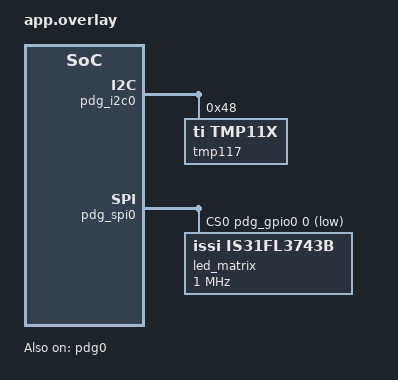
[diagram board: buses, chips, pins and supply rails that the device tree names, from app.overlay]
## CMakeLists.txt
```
# Copyright (c) 2026 Open Device Partnership and Contributors
# SPDX-License-Identifier: MIT

cmake_minimum_required(VERSION 3.20.0)

set(BOARD native_sim/native/64 CACHE STRING "Default board for Pico de Gallo samples")
set(SHIELD pico_de_gallo CACHE STRING "Default shield for Pico de Gallo samples")
get_filename_component(PDG_MODULE_ROOT "${CMAKE_CURRENT_LIST_DIR}/../../.." ABSOLUTE)
list(APPEND EXTRA_ZEPHYR_MODULES "${PDG_MODULE_ROOT}")

find_package(Zephyr REQUIRED HINTS $ENV{ZEPHYR_BASE})
project(pdg_combined_i2c_spi_bridge)

target_sources(app PRIVATE src/main.c)
```

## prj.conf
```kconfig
CONFIG_I2C=y
CONFIG_SPI=y
CONFIG_LOG=y
CONFIG_LOG_MODE_IMMEDIATE=y
CONFIG_SENSOR=y
CONFIG_LED=y
```

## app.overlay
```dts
/*
 * Copyright (c) 2026 Open Device Partnership and Contributors
 *
 * SPDX-License-Identifier: MIT
 */

#include <zephyr/dt-bindings/gpio/gpio.h>

&pdg0 {
	status = "okay";

	/*
	 * REQUIRED: replace this placeholder with this board's serial from
	 * `gallo list`. SPI chip select actuates GPIO, so R11 forbids
	 * selector-less operation: with multiple boards attached, it could
	 * drive the wrong board's pins.
	 */
	serial-number = "REPLACE_WITH_YOUR_PICO_DE_GALLO_SERIAL";
};

&pdg_gpio0 {
	status = "okay";
};

&pdg_i2c0 {
	status = "okay";

	tmp117: tmp117@48 {
		compatible = "ti,tmp11x";
		reg = <0x48>;
		status = "okay";
	};
};

&pdg_spi0 {
	status = "okay";

	/*
	 * Chip select on firmware user GPIO0 (RP2350 GPIO8, header pin 11).
	 * The cell is a firmware user GPIO index, not an RP2350 GPIO number
	 * and not a header pin number.
	 */
	cs-gpios = <&pdg_gpio0 0 GPIO_ACTIVE_LOW>;

	led_matrix: is31fl3743b@0 {
		compatible = "issi,is31fl3743b";
		reg = <0>;
		spi-max-frequency = <1000000>;
		current-limit = <90>;
		status = "okay";
	};
};
```

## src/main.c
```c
/*
 * Copyright (c) 2026 Open Device Partnership and Contributors
 *
 * SPDX-License-Identifier: MIT
 *
 * Combined sample/test for the Pico de Gallo I2C and SPI controllers. Reads
 * a TI TMP117 through the Zephyr sensor API while driving an IS31FL3743B LED
 * matrix through the Zephyr LED API. Both controllers share one bridge.
 */

#include <string.h>

#include <zephyr/device.h>
#include <zephyr/drivers/led.h>
#include <zephyr/drivers/sensor.h>
#include <zephyr/kernel.h>

/* IS31FL3743B matrix is 11x18 */
#define NUM_LEDS (11 * 18)
#define CHANNELS_PER_PIXEL 3
#define WORKER_STACK_SIZE 2048
#define WORKER_PRIORITY 5

static const uint8_t colors[][CHANNELS_PER_PIXEL] = {
	{ 255, 0, 0 },
	{ 0, 255, 0 },
	{ 0, 0, 255 },
	{ 255, 255, 0 },
	{ 0, 255, 255 },
	{ 255, 0, 255 },
};

static void fill_color(uint8_t *pwm, const uint8_t color[CHANNELS_PER_PIXEL], uint8_t level)
{
	for (size_t channel = 0; channel < NUM_LEDS; channel++) {
		pwm[channel] = (color[channel % CHANNELS_PER_PIXEL] * level) / 255;
	}
}

static void i2c_worker(void *unused1, void *unused2, void *unused3)
{
	const struct device *tmp117 = DEVICE_DT_GET(DT_NODELABEL(tmp117));
	struct sensor_value temp;
	int ret;

	ARG_UNUSED(unused1);
	ARG_UNUSED(unused2);
	ARG_UNUSED(unused3);

	if (!device_is_ready(tmp117)) {
		printk("TMP117 not ready (Pico de Gallo bridge connected?)\n");
		return;
	}

	while (1) {
		ret = sensor_sample_fetch(tmp117);
		if (ret < 0) {
			printk("sensor_sample_fetch failed: %d\n", ret);
		} else {
			ret = sensor_channel_get(tmp117, SENSOR_CHAN_AMBIENT_TEMP, &temp);
			if (ret < 0) {
				printk("sensor_channel_get failed: %d\n", ret);
			} else {
				printk("Temperature: %d.%06d C\n", temp.val1, temp.val2);
			}
		}

		k_sleep(K_SECONDS(1));
	}
}

static void spi_worker(void *unused1, void *unused2, void *unused3)
{
	const struct device *led_matrix = DEVICE_DT_GET(DT_NODELABEL(led_matrix));
	uint8_t pwm[NUM_LEDS];
	int ret;

	ARG_UNUSED(unused1);
	ARG_UNUSED(unused2);
	ARG_UNUSED(unused3);

	if (!device_is_ready(led_matrix)) {
		printk("IS31FL3743B not ready (Pico de Gallo bridge connected?)\n");
		return;
	}

	while (1) {
		for (size_t color = 0; color < ARRAY_SIZE(colors); color++) {
			/* Breathe each color up to full brightness and back down. */
			for (int level = 0; level <= 510; level++) {
				uint8_t brightness = level <= 255 ? level : 510 - level;

				fill_color(pwm, colors[color], brightness);
				ret = led_write_channels(led_matrix, 0, NUM_LEDS, pwm);
				if (ret < 0) {
					printk("led_write_channels failed: %d\n", ret);
				}

				k_sleep(K_MSEC(5));
			}
		}
	}
}

K_THREAD_DEFINE(i2c_worker_id, WORKER_STACK_SIZE, i2c_worker, NULL, NULL, NULL,
		WORKER_PRIORITY, 0, 0);
K_THREAD_DEFINE(spi_worker_id, WORKER_STACK_SIZE, spi_worker, NULL, NULL, NULL,
		WORKER_PRIORITY, 0, 0);

int main(void)
{
	printk("Pico de Gallo combined I2C/SPI bridge sample started\n");
	return 0;
}
```
